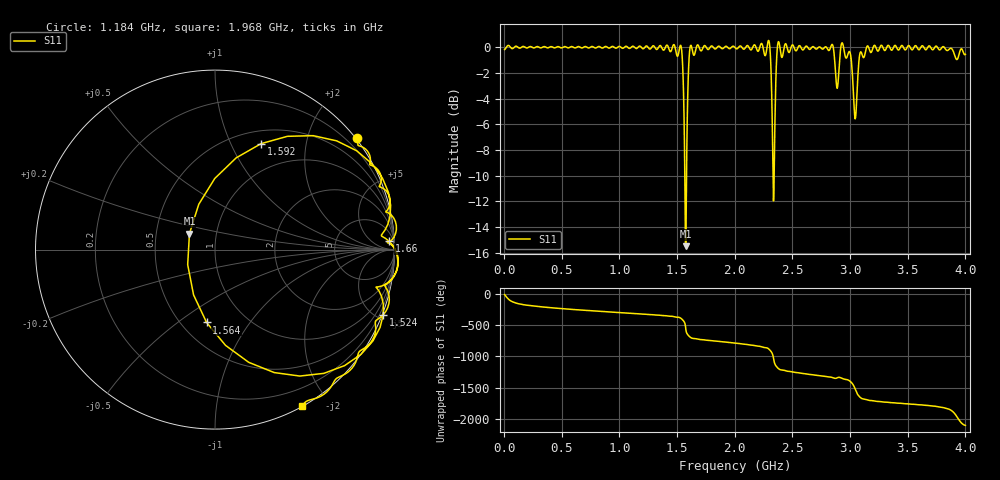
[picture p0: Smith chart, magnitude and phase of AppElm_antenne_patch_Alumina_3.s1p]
! TOUCHSTONE file generated by CST MICROWAVE STUDIO
! Date and time: Thu Jun  9 15:16:39 2022
! Project name: AppElm_antenne_patch_Alumina.cst
! Parameters = {L=30.5; W=41.8; e=0.035; h=1.6; lambda=0.190476; ls=90; w0=1.12; w1=0.373; ws=90; y0=14; y1=8.5}
! Header version: 2018
! Port assignment regex: !\s*Touchstone port\s*([0-9]+)\s*=\s*(CST MWS port|CST DS port)\s*([0-9]+|Zmin|Zmax)\s*\(\"(.*)\"\)(\s*mode\s*([0-9]+))?.*
! Touchstone port assignment:
! Touchstone port 1 = CST MWS port 1 ("")
# GHz S MA R 50
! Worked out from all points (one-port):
!   1000 points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, 4 MHz to 4 GHz, reference 50 ohm
!   lowest |S11| = -15.5 dB at 1.576 GHz (marker M1), VSWR 1.40, Z = 37 + j6.77 ohm
!   |S11| at or under -10 dB: 1.567 GHz to 1.582 GHz (14.98 MHz wide, 0.952 % of centre); 2.331743 GHz to 2.341435 GHz (9.692 MHz wide, 0.415 % of centre)
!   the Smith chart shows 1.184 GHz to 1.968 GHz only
!   S11 on the Smith chart (normalised r, x): 1.184 GHz: -0.03, +2.89; 1.524 GHz: -0.08, -5.34; 1.564 GHz: 0.66, -0.64; 1.592 GHz: 0.65, +1.31; 1.66 GHz: 18, +29; 1.968 GHz: 0.01, -1.70
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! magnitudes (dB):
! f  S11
! 4 MHz  -0.2
! 504 MHz  0.0
! 1.004 GHz  0.1
! 1.184 GHz  0.0
! 1.504 GHz  -0.7
! 1.524 GHz  0.0
! 1.544 GHz  -0.7
! 1.564 GHz  -7.8
! 1.576 GHz  -15.5
! 1.592 GHz  -3.8
! 1.612 GHz  0.0
! 1.66 GHz  -0.3
! 1.968 GHz  0.0
! 2.004 GHz  0.0
! 2.292 GHz  0.5
! 2.336 GHz  -12.0
! 2.348 GHz  -6.0
! 2.38 GHz  0.4
! 2.504 GHz  0.2
! 2.84 GHz  0.2
! 2.888 GHz  -3.2
! 2.932 GHz  0.3
! 3.004 GHz  -0.6
! 3.044 GHz  -5.6
! 3.088 GHz  -0.4
! 3.148 GHz  0.1
! 3.504 GHz  0.1
! 4 GHz  -0.6
